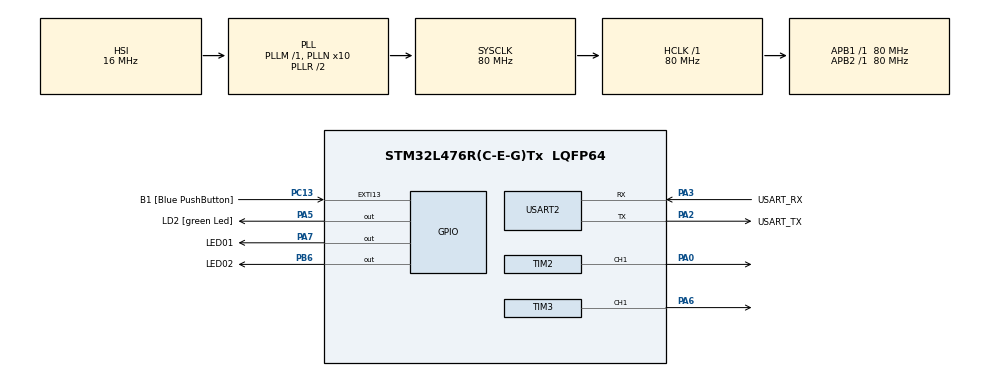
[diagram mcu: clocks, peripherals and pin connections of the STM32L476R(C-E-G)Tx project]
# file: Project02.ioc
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Mcu.Family=STM32L4
Mcu.Name=STM32L476R(C-E-G)Tx
Mcu.Package=LQFP64
NVIC.PriorityGroup=NVIC_PRIORITYGROUP_4
PA0.Signal=S_TIM2_CH1
PA13\ (JTMS-SWDIO).GPIO_Label=TMS
PA13\ (JTMS-SWDIO).Mode=Serial_Wire
PA13\ (JTMS-SWDIO).Signal=SYS_JTMS-SWDIO
PA14\ (JTCK-SWCLK).GPIO_Label=TCK
PA14\ (JTCK-SWCLK).Mode=Serial_Wire
PA14\ (JTCK-SWCLK).Signal=SYS_JTCK-SWCLK
PA2.GPIO_Label=USART_TX
PA2.GPIO_Mode=GPIO_MODE_AF_PP
PA2.GPIO_PuPd=GPIO_NOPULL
PA2.GPIO_Speed=GPIO_SPEED_FREQ_VERY_HIGH
PA2.Mode=Asynchronous
PA2.Signal=USART2_TX
PA3.GPIO_Label=USART_RX
PA3.GPIO_Mode=GPIO_MODE_AF_PP
PA3.GPIO_PuPd=GPIO_NOPULL
PA3.GPIO_Speed=GPIO_SPEED_FREQ_VERY_HIGH
PA3.Mode=Asynchronous
PA3.Signal=USART2_RX
PA5.GPIO_Label=LD2 [green Led]
PA5.GPIO_ModeDefaultOutputPP=GPIO_MODE_OUTPUT_PP
PA5.GPIO_PuPd=GPIO_NOPULL
PA5.GPIO_Speed=GPIO_SPEED_FREQ_LOW
PA5.Signal=GPIO_Output
PA6.Signal=S_TIM3_CH1
PA7.GPIO_Label=LED01
PA7.Signal=GPIO_Output
PB3\ (JTDO-TRACESWO).GPIO_Label=SWO
PB3\ (JTDO-TRACESWO).Signal=SYS_JTDO-SWO
PB6.GPIO_Label=LED02
PB6.Signal=GPIO_Output
PC13.GPIO_Label=B1 [Blue PushButton]
PC13.GPIO_ModeDefaultEXTI=GPIO_MODE_IT_FALLING
PC13.GPIO_PuPd=GPIO_NOPULL
PC13.Signal=GPXTI13
PC14-OSC32_IN\ (PC14).Mode=LSE-External-Oscillator
PC14-OSC32_IN\ (PC14).Signal=RCC_OSC32_IN
PC15-OSC32_OUT\ (PC15).Mode=LSE-External-Oscillator
PC15-OSC32_OUT\ (PC15).Signal=RCC_OSC32_OUT
PH0-OSC_IN\ (PH0).Signal=RCC_OSC_IN
PH1-OSC_OUT\ (PH1).Signal=RCC_OSC_OUT
ProjectManager.HeapSize=0x200
ProjectManager.StackSize=0x400
ProjectManager.TargetToolchain=STM32CubeIDE
RCC.ADCFreq_Value=64000000
RCC.AHBFreq_Value=80000000
RCC.APB1Freq_Value=80000000
RCC.APB1TimFreq_Value=80000000
RCC.APB2Freq_Value=80000000
RCC.APB2TimFreq_Value=80000000
RCC.CortexFreq_Value=80000000
RCC.HCLKFreq_Value=80000000
RCC.HSE_VALUE=8000000
RCC.HSI_VALUE=16000000
RCC.MSI_VALUE=4000000
RCC.PLLN=10
RCC.PLLSourceVirtual=RCC_PLLSOURCE_HSI
RCC.PREFETCH_ENABLE=1
RCC.SYSCLKFreq_VALUE=80000000
RCC.SYSCLKSource=RCC_SYSCLKSOURCE_PLLCLK
RCC.USBFreq_Value=64000000
RCC.VCOOutputFreq_Value=160000000
SH.S_TIM2_CH1.0=TIM2_CH1,PWM Generation1 CH1
SH.S_TIM3_CH1.0=TIM3_CH1,PWM Generation1 CH1
TIM2.Channel-PWM\ Generation1\ CH1=TIM_CHANNEL_1
TIM2.Period=19999
TIM2.Prescaler=79
TIM3.Channel-PWM\ Generation1\ CH1=TIM_CHANNEL_1
TIM3.Period=19999
TIM3.Prescaler=79
TIM4.Prescaler=7999
USART2.VirtualMode-Asynchronous=VM_ASYNC
VP_TIM2_VS_ClockSourceINT.Mode=Internal
VP_TIM3_VS_ClockSourceINT.Mode=Internal
VP_TIM4_VS_ClockSourceINT.Mode=Internal
board=NUCLEO-L476RG

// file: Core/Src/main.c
/* USER CODE BEGIN Header */
/**
  ******************************************************************************
  * @file           : main.c
  * @brief          : Main program body
  ******************************************************************************
  * @attention
  *
  * Copyright (c) 2022 STMicroelectronics.
  * All rights reserved.
  *
  * This software is licensed under terms that can be found in the LICENSE file
  * in the root directory of this software component.
  * If no LICENSE file comes with this software, it is provided AS-IS.
  *
  ******************************************************************************
  */
/* USER CODE END Header */
#include "main.h"

/* USER CODE BEGIN Includes */
#include "utils.h"
#include <stdio.h>
#include <stdlib.h>
/* USER CODE END Includes */

TIM_HandleTypeDef htim2;
TIM_HandleTypeDef htim3;
TIM_HandleTypeDef htim4;

UART_HandleTypeDef huart2;

/* USER CODE BEGIN PV */

static char read_char;
static servo_commands_t commands[] = {none, none};

static char *prompt = "Welcome to Servo Recipes \r\n"
		 	 	 	  "Enter servo commands, servo 1 first, then servo 2 and press enter. \r\n"
		 	 	 	  "Commands: B: Begin Recipe, P: Pause Recipe, C: Continue Recipe, R: Servo Right, L: Servo Left, N: No Op\r\n";

static servo_profile_t servo_one;
static servo_profile_t servo_two;

unsigned char recipe1[] = {MOV + 5, MOV | 3, SWEEP | 3, LOOP | 3, MOV | 3, MOV | 5, END_LOOP, RECIPE_END};
unsigned char recipe2[] = {MOV + 5, MOV | 0, LOOP | 3, MOV | 3, MOV | 5, END_LOOP, RECIPE_END};
unsigned char recipe_demo[] = { MOV + 0, MOV + 5, MOV + 0,
							  MOV + 3, LOOP + 0, LOOP + 0, MOV + 1,
							  MOV + 4, END_LOOP, MOV + 0,
							  MOV + 2, WAIT + 0, MOV + 3,
							  WAIT + 31, WAIT + 31, WAIT + 31,
                              MOV + 4, SWEEP + 5 };

/* USER CODE END PV */

void SystemClock_Config(void);
static void MX_GPIO_Init(void);
static void MX_USART2_UART_Init(void);
static void MX_TIM2_Init(void);
static void MX_TIM3_Init(void);
static void MX_TIM4_Init(void);

/* USER CODE BEGIN 0 */

void setup() {
	// Set servo to position 0
    TIM2->CCR1 = POSITION_0;
    TIM3->CCR1 = POSITION_0;
    // Set the recipes to the servos
    servo_one.recipe = recipe_demo;
    servo_two.recipe = recipe2;
    // Set up servo profiles
    servo_one.command = none;
    servo_two.command = none;
    servo_one.position = 0;
    servo_two.position = 0;
    servo_one.recipe_index = 0;
    servo_two.recipe_index = 0;
    servo_one.status = status_paused;
    servo_two.status = status_paused;
    servo_one.wait_cnt = 0;
    servo_two.wait_cnt = 0;
    servo_one.loop_cnt = 0;
    servo_two.loop_cnt = 0;
    servo_one.move_wait = 0;
    servo_two.move_wait = 0;
    servo_one.sweep_cnt = 0;
    servo_two.sweep_cnt = 0;
    servo_one.nest_prot = 0;
    servo_two.nest_prot = 0;

    // Ask initial prompt
    USART_Write(USART2, prompt, 202);
}

void update_leds(enum status status){
	switch (status) {
		case status_running:
			set_led(1, GPIOA, LED01_Pin);			// D1: on
			set_led(0, LED02_GPIO_Port, LED02_Pin);	// D2: off
			break;
		case status_paused:
			set_led(0, GPIOA, LED01_Pin);			// D1: off
			set_led(0, LED02_GPIO_Port, LED02_Pin);	// D2: off
			break;
		case status_command_error:
			set_led(0, GPIOA, LED01_Pin);			// D1: off
			set_led(1, LED02_GPIO_Port, LED02_Pin);	// D2: on
			break;
		case status_nested_error:
			set_led(1, GPIOA, LED01_Pin);			// D1: on
			set_led(1, LED02_GPIO_Port, LED02_Pin);	// D2: on
			break;
		default:
			break;
	}
}

void update_servo(struct servo_profile_t *profile, TIM_TypeDef *TIMx){
	int diff;

	switch (profile->command) {
		case servo_begin:
			// Get the current time if this starting/resuming
			if (profile->status == status_paused) {
				profile->comp_time = TIMx->CNT;
				profile->status = status_running;
			}
			// perform recipe
			else {
				diff = ((TIM4->CNT) - profile->comp_time);
				// if it has been 100ms perform next recipe item
				if (diff >= ( TIME_100MS + profile->move_wait)){
					// reset the move wait
					profile->move_wait = 0;
					// perform next recipe item
					perform_recipe(profile, TIMx);
					// Set the new comparison time
					profile->comp_time = TIM4->CNT;
				}
			}
			break;
		case servo_pause:
			if (profile->status == status_running) {
				profile->status = status_paused;
			}
			break;
		case servo_continue:
			profile->command = servo_begin;
			break;
		case servo_right:
			if ((profile->status == status_paused || profile->command == none) && profile->position > 0) {
				profile->position -= 1;
				TIMx->CCR1 = get_duty_cycle_from_position(profile->position);
			}
			profile->command = none;
			break;
		case servo_left:
			if ((profile->status == status_paused || profile->command == none) && profile->position < 5) {
				profile->position += 1;
				TIMx->CCR1 = get_duty_cycle_from_position(profile->position);
			}
			profile->command = none;
			break;
		case servo_no_op:
			profile->command = none;
			break;
		default:
			break;
	}

}

void perform_recipe(struct servo_profile_t *profile, TIM_TypeDef *TIMx) {
	uint8_t curr_item      = profile->recipe[profile->recipe_index];
	uint8_t op_mask 	   = 0b11100000;
	uint8_t parameter_mask = 0b00011111;
	uint8_t opcode;
	uint8_t parameter;

	// Get the opcode
	opcode = (curr_item & op_mask) >> 5;
	parameter = (curr_item & parameter_mask);
	switch(opcode) {
		case (MOV >> OPCODE_SHIFT):
			profile->move_wait = get_move_wait(profile->position, parameter);
			profile->position = parameter;
			TIMx->CCR1 = get_duty_cycle_from_position(parameter);
			profile->recipe_index++;
			break;
		case (WAIT >> OPCODE_SHIFT):
			if (profile->wait_cnt < parameter) {
				profile->wait_cnt++;
			}
			else {
				profile->recipe_index++;
			}
			break;
		case (LOOP >> OPCODE_SHIFT):
			// increase nest protection to make sure there is no nested for loops
			profile->nest_prot++;
			// Save the start of the loop
			profile->loop_start_index = profile->recipe_index + 1;
			// Save the amount of loops needed to be
			profile->loop_amt = parameter;
			profile->recipe_index++;
			if (profile->nest_prot > 1) {
				profile->status = status_nested_error;
				profile->command = servo_pause;
			}
			break;
		case (END_LOOP >> OPCODE_SHIFT):
			profile->loop_cnt++;
			if (profile->loop_cnt > profile->loop_amt) {
				profile->recipe_index++;
				profile->nest_prot = 0;
			}
			else {
				profile->recipe_index = profile->loop_start_index;
			}
			break;
		case (SWEEP >> OPCODE_SHIFT):
			if ((profile->sweep_cnt / 2) <= parameter) {
				if (profile->sweep_cnt == 0 || (profile->sweep_cnt % 2) != 0) {
					profile->move_wait = get_move_wait(profile->position, 0);
					profile->position = 0;
					TIMx->CCR1 = get_duty_cycle_from_position(0);
					profile->sweep_cnt++;
				}
				else if ((profile->sweep_cnt % 2) == 0) {
					profile->move_wait = get_move_wait(profile->position, 5);
					profile->position = 5;
					TIMx->CCR1 = get_duty_cycle_from_position(5);
					profile->sweep_cnt++;
				}
			}
			else {
				profile->recipe_index++;
			}
			break;
		case RECIPE_END:
			profile->status = servo_pause;
			profile->command = none;
			profile->recipe_index = 0;
			break;
		default:
			profile->status = status_command_error;
			break;
	}

}

/* USER CODE END 0 */

int main(void)
{

  /* MCU Configuration--------------------------------------------------------*/

  /* Reset of all peripherals, Initializes the Flash interface and the Systick. */
  HAL_Init();

  /* Configure the system clock */
  SystemClock_Config();

  /* Initialize all configured peripherals */
  MX_GPIO_Init();
  MX_USART2_UART_Init();
  MX_TIM2_Init();
  MX_TIM3_Init();
  MX_TIM4_Init();
  /* USER CODE BEGIN 2 */
  setup();
  /* USER CODE END 2 */

  /* Infinite loop */
  while (1)
  {

    /* USER CODE BEGIN 3 */
	// *** THIS LOOP CANNOT BE BLOCKING
	// Check user input
	if (get_servo_process(commands, USART2)) {
		// Update servo's commands
		servo_one.command = commands[0];
		servo_two.command = commands[1];
		// remove the commands
		commands[0] = none;
		commands[1] = none;
	}
	// Run servo process if active
	update_servo(&servo_one, TIM2);
	update_servo(&servo_two, TIM3);
	// update LEDs (only with respects to servo one)
	update_leds(servo_one.status);

  }
  /* USER CODE END 3 */
}

void SystemClock_Config(void)
{
  RCC_OscInitTypeDef RCC_OscInitStruct = {0};
  RCC_ClkInitTypeDef RCC_ClkInitStruct = {0};

  /** Configure the main internal regulator output voltage
  */
  if (HAL_PWREx_ControlVoltageScaling(PWR_REGULATOR_VOLTAGE_SCALE1) != HAL_OK)
  {
    Error_Handler();
  }

  /** Initializes the RCC Oscillators according to the specified parameters
  * in the RCC_OscInitTypeDef structure.
  */
  RCC_OscInitStruct.OscillatorType = RCC_OSCILLATORTYPE_HSI;
  RCC_OscInitStruct.HSIState = RCC_HSI_ON;
  RCC_OscInitStruct.HSICalibrationValue = RCC_HSICALIBRATION_DEFAULT;
  RCC_OscInitStruct.PLL.PLLState = RCC_PLL_ON;
  RCC_OscInitStruct.PLL.PLLSource = RCC_PLLSOURCE_HSI;
  RCC_OscInitStruct.PLL.PLLM = 1;
  RCC_OscInitStruct.PLL.PLLN = 10;
  RCC_OscInitStruct.PLL.PLLP = RCC_PLLP_DIV7;
  RCC_OscInitStruct.PLL.PLLQ = RCC_PLLQ_DIV2;
  RCC_OscInitStruct.PLL.PLLR = RCC_PLLR_DIV2;
  if (HAL_RCC_OscConfig(&RCC_OscInitStruct) != HAL_OK)
  {
    Error_Handler();
  }

  /** Initializes the CPU, AHB and APB buses clocks
  */
  RCC_ClkInitStruct.ClockType = RCC_CLOCKTYPE_HCLK|RCC_CLOCKTYPE_SYSCLK
                              |RCC_CLOCKTYPE_PCLK1|RCC_CLOCKTYPE_PCLK2;
  RCC_ClkInitStruct.SYSCLKSource = RCC_SYSCLKSOURCE_PLLCLK;
  RCC_ClkInitStruct.AHBCLKDivider = RCC_SYSCLK_DIV1;
  RCC_ClkInitStruct.APB1CLKDivider = RCC_HCLK_DIV1;
  RCC_ClkInitStruct.APB2CLKDivider = RCC_HCLK_DIV1;

  if (HAL_RCC_ClockConfig(&RCC_ClkInitStruct, FLASH_LATENCY_4) != HAL_OK)
  {
    Error_Handler();
  }
}

static void MX_TIM2_Init(void)
{

  TIM_ClockConfigTypeDef sClockSourceConfig = {0};
  TIM_MasterConfigTypeDef sMasterConfig = {0};
  TIM_OC_InitTypeDef sConfigOC = {0};

  htim2.Instance = TIM2;
  htim2.Init.Prescaler = 79;
  htim2.Init.CounterMode = TIM_COUNTERMODE_UP;
  htim2.Init.Period = 19999;
  htim2.Init.ClockDivision = TIM_CLOCKDIVISION_DIV1;
  htim2.Init.AutoReloadPreload = TIM_AUTORELOAD_PRELOAD_DISABLE;
  if (HAL_TIM_Base_Init(&htim2) != HAL_OK)
  {
    Error_Handler();
  }
  sClockSourceConfig.ClockSource = TIM_CLOCKSOURCE_INTERNAL;
  if (HAL_TIM_ConfigClockSource(&htim2, &sClockSourceConfig) != HAL_OK)
  {
    Error_Handler();
  }
  if (HAL_TIM_PWM_Init(&htim2) != HAL_OK)
  {
    Error_Handler();
  }
  sMasterConfig.MasterOutputTrigger = TIM_TRGO_RESET;
  sMasterConfig.MasterSlaveMode = TIM_MASTERSLAVEMODE_DISABLE;
  if (HAL_TIMEx_MasterConfigSynchronization(&htim2, &sMasterConfig) != HAL_OK)
  {
    Error_Handler();
  }
  sConfigOC.OCMode = TIM_OCMODE_PWM1;
  sConfigOC.Pulse = 0;
  sConfigOC.OCPolarity = TIM_OCPOLARITY_HIGH;
  sConfigOC.OCFastMode = TIM_OCFAST_DISABLE;
  if (HAL_TIM_PWM_ConfigChannel(&htim2, &sConfigOC, TIM_CHANNEL_1) != HAL_OK)
  {
    Error_Handler();
  }
  /* USER CODE BEGIN TIM2_Init 2 */
  HAL_TIM_Base_Start(&htim2);
  HAL_TIM_IC_Start(&htim2, TIM_CHANNEL_1);
  /* USER CODE END TIM2_Init 2 */
  HAL_TIM_MspPostInit(&htim2);

}

static void MX_TIM3_Init(void)
{

  TIM_ClockConfigTypeDef sClockSourceConfig = {0};
  TIM_MasterConfigTypeDef sMasterConfig = {0};
  TIM_OC_InitTypeDef sConfigOC = {0};

  htim3.Instance = TIM3;
  htim3.Init.Prescaler = 79;
  htim3.Init.CounterMode = TIM_COUNTERMODE_UP;
  htim3.Init.Period = 19999;
  htim3.Init.ClockDivision = TIM_CLOCKDIVISION_DIV1;
  htim3.Init.AutoReloadPreload = TIM_AUTORELOAD_PRELOAD_DISABLE;
  if (HAL_TIM_Base_Init(&htim3) != HAL_OK)
  {
    Error_Handler();
  }
  sClockSourceConfig.ClockSource = TIM_CLOCKSOURCE_INTERNAL;
  if (HAL_TIM_ConfigClockSource(&htim3, &sClockSourceConfig) != HAL_OK)
  {
    Error_Handler();
  }
  if (HAL_TIM_PWM_Init(&htim3) != HAL_OK)
  {
    Error_Handler();
  }
  sMasterConfig.MasterOutputTrigger = TIM_TRGO_RESET;
  sMasterConfig.MasterSlaveMode = TIM_MASTERSLAVEMODE_DISABLE;
  if (HAL_TIMEx_MasterConfigSynchronization(&htim3, &sMasterConfig) != HAL_OK)
  {
    Error_Handler();
  }
  sConfigOC.OCMode = TIM_OCMODE_PWM1;
  sConfigOC.Pulse = 0;
  sConfigOC.OCPolarity = TIM_OCPOLARITY_HIGH;
  sConfigOC.OCFastMode = TIM_OCFAST_DISABLE;
  if (HAL_TIM_PWM_ConfigChannel(&htim3, &sConfigOC, TIM_CHANNEL_1) != HAL_OK)
  {
    Error_Handler();
  }
  /* USER CODE BEGIN TIM3_Init 2 */
  HAL_TIM_Base_Start(&htim3);
  HAL_TIM_IC_Start(&htim3, TIM_CHANNEL_1);
  /* USER CODE END TIM3_Init 2 */
  HAL_TIM_MspPostInit(&htim3);

}

static void MX_TIM4_Init(void)
{

  TIM_ClockConfigTypeDef sClockSourceConfig = {0};
  TIM_MasterConfigTypeDef sMasterConfig = {0};

  htim4.Instance = TIM4;
  htim4.Init.Prescaler = 7999;
  htim4.Init.CounterMode = TIM_COUNTERMODE_UP;
  htim4.Init.Period = 65535;
  htim4.Init.ClockDivision = TIM_CLOCKDIVISION_DIV1;
  htim4.Init.AutoReloadPreload = TIM_AUTORELOAD_PRELOAD_DISABLE;
  if (HAL_TIM_Base_Init(&htim4) != HAL_OK)
  {
    Error_Handler();
  }
  sClockSourceConfig.ClockSource = TIM_CLOCKSOURCE_INTERNAL;
  if (HAL_TIM_ConfigClockSource(&htim4, &sClockSourceConfig) != HAL_OK)
  {
    Error_Handler();
  }
  sMasterConfig.MasterOutputTrigger = TIM_TRGO_RESET;
  sMasterConfig.MasterSlaveMode = TIM_MASTERSLAVEMODE_DISABLE;
  if (HAL_TIMEx_MasterConfigSynchronization(&htim4, &sMasterConfig) != HAL_OK)
  {
    Error_Handler();
  }
  /* USER CODE BEGIN TIM4_Init 2 */
  HAL_TIM_Base_Start(&htim4);
  /* USER CODE END TIM4_Init 2 */

}

static void MX_USART2_UART_Init(void)
{

  huart2.Instance = USART2;
  huart2.Init.BaudRate = 115200;
  huart2.Init.WordLength = UART_WORDLENGTH_8B;
  huart2.Init.StopBits = UART_STOPBITS_1;
  huart2.Init.Parity = UART_PARITY_NONE;
  huart2.Init.Mode = UART_MODE_TX_RX;
  huart2.Init.HwFlowCtl = UART_HWCONTROL_NONE;
  huart2.Init.OverSampling = UART_OVERSAMPLING_16;
  huart2.Init.OneBitSampling = UART_ONE_BIT_SAMPLE_DISABLE;
  huart2.AdvancedInit.AdvFeatureInit = UART_ADVFEATURE_NO_INIT;
  if (HAL_UART_Init(&huart2) != HAL_OK)
  {
    Error_Handler();
  }

}

static void MX_GPIO_Init(void)
{
  GPIO_InitTypeDef GPIO_InitStruct = {0};

  /* GPIO Ports Clock Enable */
  __HAL_RCC_GPIOC_CLK_ENABLE();
  __HAL_RCC_GPIOH_CLK_ENABLE();
  __HAL_RCC_GPIOA_CLK_ENABLE();
  __HAL_RCC_GPIOB_CLK_ENABLE();

  /*Configure GPIO pin Output Level */
  HAL_GPIO_WritePin(GPIOA, LD2_Pin|LED01_Pin, GPIO_PIN_RESET);

  /*Configure GPIO pin Output Level */
  HAL_GPIO_WritePin(LED02_GPIO_Port, LED02_Pin, GPIO_PIN_RESET);

  /*Configure GPIO pin : B1_Pin */
  GPIO_InitStruct.Pin = B1_Pin;
  GPIO_InitStruct.Mode = GPIO_MODE_IT_FALLING;
  GPIO_InitStruct.Pull = GPIO_NOPULL;
  HAL_GPIO_Init(B1_GPIO_Port, &GPIO_InitStruct);

  /*Configure GPIO pins : LD2_Pin LED01_Pin */
  GPIO_InitStruct.Pin = LD2_Pin|LED01_Pin;
  GPIO_InitStruct.Mode = GPIO_MODE_OUTPUT_PP;
  GPIO_InitStruct.Pull = GPIO_NOPULL;
  GPIO_InitStruct.Speed = GPIO_SPEED_FREQ_LOW;
  HAL_GPIO_Init(GPIOA, &GPIO_InitStruct);

  /*Configure GPIO pin : LED02_Pin */
  GPIO_InitStruct.Pin = LED02_Pin;
  GPIO_InitStruct.Mode = GPIO_MODE_OUTPUT_PP;
  GPIO_InitStruct.Pull = GPIO_NOPULL;
  GPIO_InitStruct.Speed = GPIO_SPEED_FREQ_LOW;
  HAL_GPIO_Init(LED02_GPIO_Port, &GPIO_InitStruct);

}

void Error_Handler(void)
{
  __disable_irq();
  while (1)
  {
  }
}
